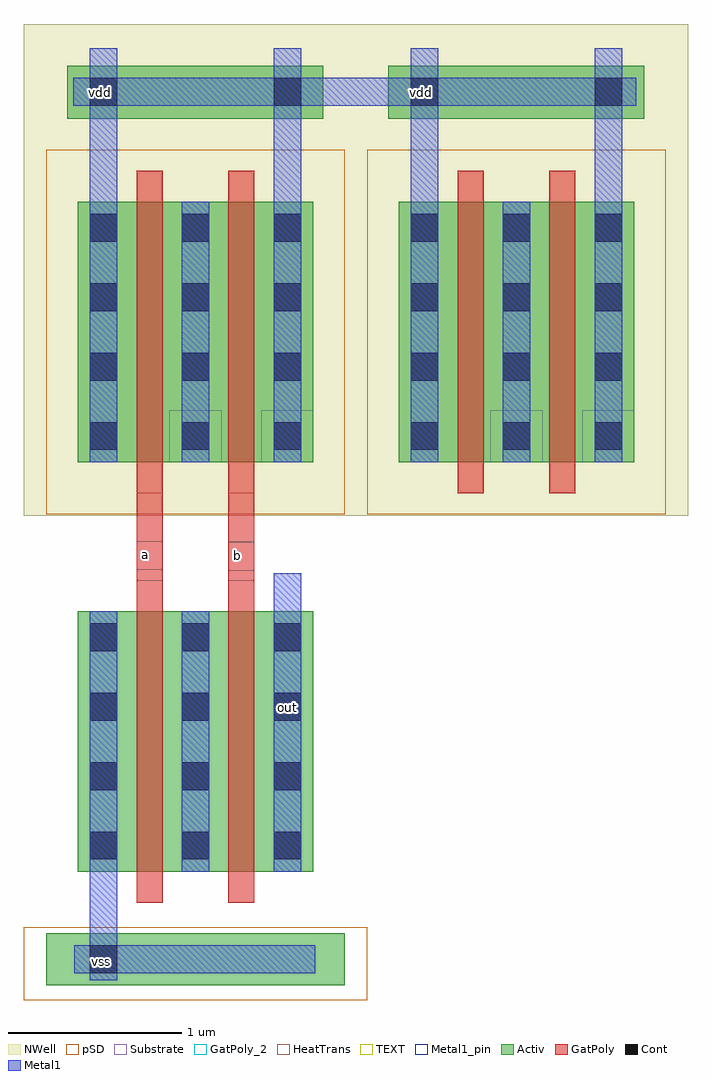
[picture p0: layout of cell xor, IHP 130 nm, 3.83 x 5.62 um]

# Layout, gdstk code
import gdstk
lib = gdstk.Library(unit=1e-6, precision=5e-09)
def R(c, l, rs):  # rectangles x0, y0, x1, y1
    for r in rs: c.add(gdstk.rectangle(r[:2], r[2:], *l))
def A(c, l, x, y, w, h, nx, ny, dx, dy):  # array of equal rectangles
    R(c, l, [(x+i*dx, y+j*dy, x+i*dx+w, y+j*dy+h) for i in range(nx) for j in range(ny)])
def P(c, l, *ps):  # polygons
    for p in ps: c.add(gdstk.Polygon(p, *l))
Activ = (1, 0)
GatPoly = (5, 0)
GatPoly_2 = (5, 2)
Cont = (6, 0)
Metal1 = (8, 0)
Metal1_pin = (8, 2)
pSD = (14, 0)
NWell = (31, 0)
Substrate = (40, 0)
HeatTrans = (51, 0)
TEXT = (63, 0)

nmos = lib.new_cell('nmos')
R(nmos, Activ, [(0,0,0.3,0.3), (0,0,0.83,1.5), (0.53,0,0.83,0.3)])
R(nmos, GatPoly, [(0.34,-0.18,0.49,1.68)])
R(nmos, GatPoly_2, [(0.34,-0.18,0.49,1.68)])
A(nmos, Cont, 0.07, 0.07, 0.16, 0.16, 1, 4, 0, 0.4)
A(nmos, Cont, 0.6, 0.07, 0.16, 0.16, 1, 4, 0, 0.4)
R(nmos, Metal1, [(0.07,0,0.23,1.5), (0.6,0,0.76,1.5)])
R(nmos, Metal1_pin, [(0.07,0,0.23,1.5), (0.6,0,0.76,1.5)])
R(nmos, HeatTrans, [(0.34,-0.18,0.49,1.68)])
nmos.add(gdstk.Label('nmos', (0.415,0.75), layer=63, texttype=0))
nmos.add(gdstk.Label('nmos', (0.415,0.75), layer=51, texttype=0))

pmos = lib.new_cell('pmos')
R(pmos, Activ, [(0,0,0.3,0.3), (0,0,0.83,1.5), (0.53,0,0.83,0.3)])
R(pmos, GatPoly, [(0.34,-0.18,0.49,1.68), (0.34,-0.18,0.49,1.68)])
A(pmos, Cont, 0.07, 0.07, 0.16, 0.16, 1, 4, 0, 0.4)
A(pmos, Cont, 0.6, 0.07, 0.16, 0.16, 1, 4, 0, 0.4)
R(pmos, Metal1, [(0.07,0,0.23,1.5), (0.07,0,0.23,1.5), (0.6,0,0.76,1.5), (0.6,0,0.76,1.5)])
R(pmos, pSD, [(-0.18,-0.3,1.01,1.8)])
R(pmos, NWell, [(-0.31,-0.31,1.14,1.81)])
R(pmos, Substrate, [(0.53,0,0.83,0.3)])
R(pmos, HeatTrans, [(0.34,-0.18,0.49,1.68)])
pmos.add(gdstk.Label('pmos', (0.415,0.75), layer=63, texttype=0))
pmos.add(gdstk.Label('pmos', (0.415,0.75), layer=51, texttype=0))

xor = lib.new_cell('xor')
R(xor, Activ, [(-2.805,-1.82,-1.085,-1.52), (-2.685,3.175,-1.21,3.48), (-0.835,3.175,0.64,3.48)])
R(xor, GatPoly, [(-2.285,-0.62,-2.135,1.06), (-1.755,-0.62,-1.605,1.07)])
R(xor, GatPoly_2, [(-1.755,0.57,-1.605,0.735), (-2.285,0.575,-2.135,0.74)])
R(xor, Cont, [(-2.555,-1.75,-2.395,-1.59), (-2.555,3.25,-2.395,3.41), (-1.495,3.25,-1.335,3.41), (-0.705,3.25,-0.545,3.41), (0.355,3.25,0.515,3.41)])
R(xor, Metal1, [(-2.555,-1.79,-2.395,-1.67), (-2.645,-1.75,-2.475,-1.59), (-1.575,-1.75,-1.255,-1.59), (-1.495,0.09,-1.335,0.555), (-2.555,2.465,-2.395,3.58), (-0.705,2.465,-0.545,3.58), (-1.495,2.695,-1.335,3.58), (0.355,2.695,0.515,3.58), (-2.65,3.25,-1.255,3.41), (-1.255,3.25,0.595,3.41)])
P(xor, Metal1, [(-2.025,1.195),(-2.025,1.195),(-1.865,1.195),(-1.865,1.195)],
  [(-0.175,1.195),(-0.175,1.195),(-0.015,1.195),(-0.015,1.195)])
R(xor, Metal1_pin, [(-1.495,-0.295,-1.335,-0.135), (-2.555,3.25,-2.395,3.41), (-1.495,3.25,-1.335,3.41), (-0.705,3.25,-0.545,3.41), (0.355,3.25,0.515,3.41)])
R(xor, pSD, [(-2.935,-1.905,-0.955,-1.485)])
R(xor, NWell, [(-2.935,3.005,-0.955,3.72), (-1.085,3.005,0.895,3.72)])
xor.add(gdstk.FlexPath([(-1.415,0.105),(-1.415,-0.025)], 0.16, ends="flush", simple_path=True, layer=8, datatype=0))  # Metal1
xor.add(gdstk.FlexPath([(-2.475,-1.015),(-2.475,-1.67),(-1.335,-1.67),(-1.335,-1.685)], 0.16, ends="flush", simple_path=True, layer=8, datatype=0))  # Metal1
xor.add(gdstk.FlexPath([(-2.475,-1.67),(-2.555,-1.67),(-2.555,-1.67)], 0.16, ends="flush", simple_path=True, layer=63, datatype=0))  # TEXT
xor.add(gdstk.Reference(nmos, (-2.625,-1.165)))
xor.add(gdstk.Reference(nmos, (-2.095,-1.165)))
xor.add(gdstk.Reference(pmos, (-2.095,1.195)))
xor.add(gdstk.Reference(pmos, (-2.625,1.195)))
xor.add(gdstk.Reference(pmos, (-0.245,1.195)))
xor.add(gdstk.Reference(pmos, (-0.775,1.195)))
xor.add(gdstk.Label('out', (-1.415,-0.22), layer=8, texttype=2))
xor.add(gdstk.Label('vss', (-2.485,-1.685), layer=8, texttype=2))
xor.add(gdstk.Label('vdd', (-2.49,3.325), layer=8, texttype=2))
xor.add(gdstk.Label('vdd', (-0.64,3.325), layer=8, texttype=2))
xor.add(gdstk.Label('b', (-1.705,0.655), layer=5, texttype=2))
xor.add(gdstk.Label('a', (-2.235,0.66), layer=5, texttype=2))

lib.write_gds('xor.gds')
